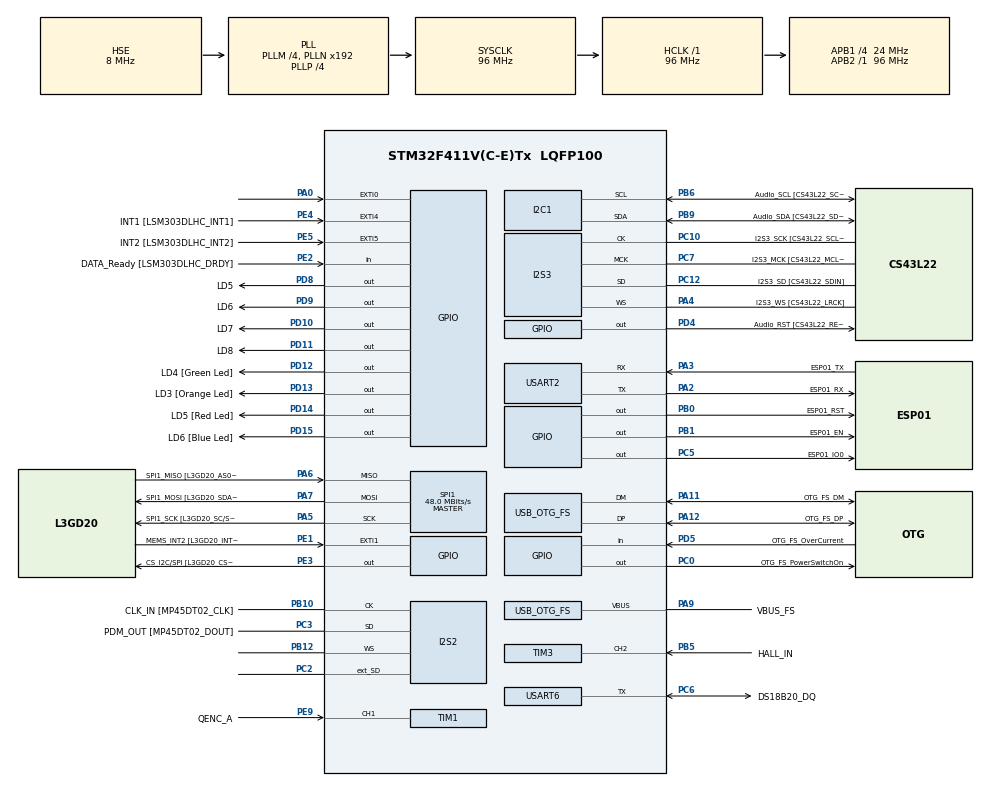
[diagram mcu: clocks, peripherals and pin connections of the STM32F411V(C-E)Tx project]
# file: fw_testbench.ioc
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Dma.I2C1_RX.4.Direction=DMA_PERIPH_TO_MEMORY
Dma.I2C1_RX.4.FIFOMode=DMA_FIFOMODE_DISABLE
Dma.I2C1_RX.4.Instance=DMA1_Stream0
Dma.I2C1_RX.4.MemDataAlignment=DMA_MDATAALIGN_BYTE
Dma.I2C1_RX.4.MemInc=DMA_MINC_ENABLE
Dma.I2C1_RX.4.Mode=DMA_NORMAL
Dma.I2C1_RX.4.PeriphDataAlignment=DMA_PDATAALIGN_BYTE
Dma.I2C1_RX.4.PeriphInc=DMA_PINC_DISABLE
Dma.I2C1_RX.4.Priority=DMA_PRIORITY_LOW
Dma.I2C1_TX.5.Direction=DMA_MEMORY_TO_PERIPH
Dma.I2C1_TX.5.FIFOMode=DMA_FIFOMODE_DISABLE
Dma.I2C1_TX.5.Instance=DMA1_Stream1
Dma.I2C1_TX.5.MemDataAlignment=DMA_MDATAALIGN_BYTE
Dma.I2C1_TX.5.MemInc=DMA_MINC_ENABLE
Dma.I2C1_TX.5.Mode=DMA_NORMAL
Dma.I2C1_TX.5.PeriphDataAlignment=DMA_PDATAALIGN_BYTE
Dma.I2C1_TX.5.PeriphInc=DMA_PINC_DISABLE
Dma.I2C1_TX.5.Priority=DMA_PRIORITY_LOW
Dma.Request0=USART2_RX
Dma.Request1=USART2_TX
Dma.Request2=USART6_RX
Dma.Request3=USART6_TX
Dma.Request4=I2C1_RX
Dma.Request5=I2C1_TX
Dma.USART2_RX.0.Direction=DMA_PERIPH_TO_MEMORY
Dma.USART2_RX.0.FIFOMode=DMA_FIFOMODE_DISABLE
Dma.USART2_RX.0.Instance=DMA1_Stream5
Dma.USART2_RX.0.MemDataAlignment=DMA_MDATAALIGN_BYTE
Dma.USART2_RX.0.MemInc=DMA_MINC_ENABLE
Dma.USART2_RX.0.Mode=DMA_CIRCULAR
Dma.USART2_RX.0.PeriphDataAlignment=DMA_PDATAALIGN_BYTE
Dma.USART2_RX.0.PeriphInc=DMA_PINC_DISABLE
Dma.USART2_RX.0.Priority=DMA_PRIORITY_MEDIUM
Dma.USART2_TX.1.Direction=DMA_MEMORY_TO_PERIPH
Dma.USART2_TX.1.FIFOMode=DMA_FIFOMODE_DISABLE
Dma.USART2_TX.1.Instance=DMA1_Stream6
Dma.USART2_TX.1.MemDataAlignment=DMA_MDATAALIGN_BYTE
Dma.USART2_TX.1.MemInc=DMA_MINC_ENABLE
Dma.USART2_TX.1.Mode=DMA_NORMAL
Dma.USART2_TX.1.PeriphDataAlignment=DMA_PDATAALIGN_BYTE
Dma.USART2_TX.1.PeriphInc=DMA_PINC_DISABLE
Dma.USART2_TX.1.Priority=DMA_PRIORITY_LOW
Dma.USART6_RX.2.Direction=DMA_PERIPH_TO_MEMORY
Dma.USART6_RX.2.FIFOMode=DMA_FIFOMODE_DISABLE
Dma.USART6_RX.2.Instance=DMA2_Stream1
Dma.USART6_RX.2.MemDataAlignment=DMA_MDATAALIGN_BYTE
Dma.USART6_RX.2.MemInc=DMA_MINC_ENABLE
Dma.USART6_RX.2.Mode=DMA_NORMAL
Dma.USART6_RX.2.PeriphDataAlignment=DMA_PDATAALIGN_BYTE
Dma.USART6_RX.2.PeriphInc=DMA_PINC_DISABLE
Dma.USART6_RX.2.Priority=DMA_PRIORITY_LOW
Dma.USART6_TX.3.Direction=DMA_MEMORY_TO_PERIPH
Dma.USART6_TX.3.FIFOMode=DMA_FIFOMODE_DISABLE
Dma.USART6_TX.3.Instance=DMA2_Stream6
Dma.USART6_TX.3.MemDataAlignment=DMA_MDATAALIGN_BYTE
Dma.USART6_TX.3.MemInc=DMA_MINC_ENABLE
Dma.USART6_TX.3.Mode=DMA_NORMAL
Dma.USART6_TX.3.PeriphDataAlignment=DMA_PDATAALIGN_BYTE
Dma.USART6_TX.3.PeriphInc=DMA_PINC_DISABLE
Dma.USART6_TX.3.Priority=DMA_PRIORITY_LOW
I2S2.AudioFreq=I2S_AUDIOFREQ_96K
I2S2.ErrorAudioFreq=0.15 %
I2S2.FullDuplexMode=I2S_FULLDUPLEXMODE_ENABLE
I2S2.Instance=SPI$Index
I2S2.RealAudioFreq=96.153 KHz
I2S2.VirtualMode=I2S_MODE_MASTER
I2S3.AudioFreq=I2S_AUDIOFREQ_96K
I2S3.ErrorAudioFreq=-6.99 %
I2S3.FullDuplexMode=I2S_FULLDUPLEXMODE_DISABLE
I2S3.Instance=SPI$Index
I2S3.RealAudioFreq=89.285 KHz
I2S3.VirtualMode=I2S_MODE_MASTER
Mcu.Family=STM32F4
Mcu.Name=STM32F411V(C-E)Tx
Mcu.Package=LQFP100
NVIC.DMA1_Stream0_IRQn=true\:0\:0\:false\:false\:true\:false\:true\:true
NVIC.DMA1_Stream1_IRQn=true\:0\:0\:false\:false\:true\:false\:true\:true
NVIC.DMA1_Stream5_IRQn=true\:0\:0\:false\:false\:true\:false\:true\:true
NVIC.DMA1_Stream6_IRQn=true\:0\:0\:false\:false\:true\:false\:true\:true
NVIC.DMA2_Stream1_IRQn=true\:0\:0\:false\:false\:true\:false\:true\:true
NVIC.DMA2_Stream6_IRQn=true\:0\:0\:false\:false\:true\:false\:true\:true
NVIC.I2C1_EV_IRQn=true\:0\:0\:false\:false\:true\:true\:true\:true
NVIC.OTG_FS_IRQn=true\:0\:0\:false\:false\:true\:true\:true\:true
NVIC.PriorityGroup=NVIC_PRIORITYGROUP_0
NVIC.TIM1_BRK_TIM9_IRQn=true\:0\:0\:false\:false\:true\:true\:true\:true
NVIC.TIM1_CC_IRQn=true\:0\:0\:false\:false\:true\:true\:true\:true
NVIC.TIM1_TRG_COM_TIM11_IRQn=true\:0\:0\:false\:false\:true\:true\:true\:true
NVIC.TIM1_UP_TIM10_IRQn=true\:0\:0\:false\:false\:true\:true\:true\:true
NVIC.TIM3_IRQn=true\:0\:0\:false\:false\:true\:true\:true\:true
NVIC.USART2_IRQn=true\:0\:0\:false\:false\:true\:true\:true\:true
NVIC.USART6_IRQn=true\:0\:0\:false\:false\:true\:true\:true\:true
PA0-WKUP.GPIO_ModeDefaultEXTI=GPIO_MODE_EVT_RISING
PA0-WKUP.Signal=GPXTI0
PA10.GPIO_Label=OTG_FS_ID
PA10.Signal=USB_OTG_FS_ID
PA11.GPIO_Label=OTG_FS_DM
PA11.Mode=Host_Only
PA11.Signal=USB_OTG_FS_DM
PA12.GPIO_Label=OTG_FS_DP
PA12.Mode=Host_Only
PA12.Signal=USB_OTG_FS_DP
PA13.GPIO_Label=SWDIO
PA13.Mode=Serial_Wire
PA13.Signal=SYS_JTMS-SWDIO
PA14.GPIO_Label=SWCLK
PA14.Mode=Serial_Wire
PA14.Signal=SYS_JTCK-SWCLK
PA2.GPIO_Label=ESP01_RX
PA2.Mode=Asynchronous
PA2.Signal=USART2_TX
PA3.GPIO_Label=ESP01_TX
PA3.Mode=Asynchronous
PA3.Signal=USART2_RX
PA4.GPIO_Label=I2S3_WS [CS43L22_LRCK]
PA4.GPIO_Mode=GPIO_MODE_AF_PP
PA4.GPIO_PuPd=GPIO_NOPULL
PA4.GPIO_Speed=GPIO_SPEED_FREQ_LOW
PA4.Mode=Half_Duplex_Master
PA4.Signal=I2S3_WS
PA5.GPIO_Label=SPI1_SCK [L3GD20_SC/SPC]
PA5.Mode=Full_Duplex_Master
PA5.Signal=SPI1_SCK
PA6.GPIO_Label=SPI1_MISO [L3GD20_AS0/SDO]
PA6.Mode=Full_Duplex_Master
PA6.Signal=SPI1_MISO
PA7.GPIO_Label=SPI1_MOSI [L3GD20_SDA/SDI/SDO]
PA7.Mode=Full_Duplex_Master
PA7.Signal=SPI1_MOSI
PA9.GPIO_Label=VBUS_FS
PA9.Mode=Activate_VBUS
PA9.Signal=USB_OTG_FS_VBUS
PB0.GPIO_Label=ESP01_RST
PB0.Signal=GPIO_Output
PB1.GPIO_Label=ESP01_EN
PB1.Signal=GPIO_Output
PB10.GPIO_Label=CLK_IN [MP45DT02_CLK]
PB10.Mode=Full_Duplex_Master
PB10.Signal=I2S2_CK
PB12.Mode=Full_Duplex_Master
PB12.Signal=I2S2_WS
PB3.GPIO_Label=SWO
PB3.Signal=SYS_JTDO-SWO
PB5.GPIO_Label=HALL_IN
PB5.Signal=S_TIM3_CH2
PB6.GPIO_Label=Audio_SCL [CS43L22_SCL]
PB6.GPIO_Mode=GPIO_MODE_AF_OD
PB6.GPIO_Pu=GPIO_PULLUP
PB6.GPIO_PuPd=GPIO_NOPULL
PB6.GPIO_Speed=GPIO_SPEED_FREQ_LOW
PB6.Mode=I2C
PB6.Signal=I2C1_SCL
PB9.GPIO_Label=Audio_SDA [CS43L22_SDA]
PB9.GPIO_Mode=GPIO_MODE_AF_OD
PB9.GPIO_Pu=GPIO_PULLUP
PB9.GPIO_PuPd=GPIO_NOPULL
PB9.GPIO_Speed=GPIO_SPEED_FREQ_LOW
PB9.Mode=I2C
PB9.Signal=I2C1_SDA
PC0.GPIO_Label=OTG_FS_PowerSwitchOn
PC0.PinState=GPIO_PIN_SET
PC0.Signal=GPIO_Output
PC10.GPIO_Label=I2S3_SCK [CS43L22_SCLK]
PC10.GPIO_Mode=GPIO_MODE_AF_PP
PC10.GPIO_PuPd=GPIO_NOPULL
PC10.GPIO_Speed=GPIO_SPEED_FREQ_LOW
PC10.Mode=Half_Duplex_Master
PC10.Signal=I2S3_CK
PC12.GPIO_Label=I2S3_SD [CS43L22_SDIN]
PC12.GPIO_Mode=GPIO_MODE_AF_PP
PC12.GPIO_PuPd=GPIO_NOPULL
PC12.GPIO_Speed=GPIO_SPEED_FREQ_LOW
PC12.Mode=Half_Duplex_Master
PC12.Signal=I2S3_SD
PC14-OSC32_IN.GPIO_Label=PC14-OSC32_IN
PC14-OSC32_IN.Signal=RCC_OSC32_IN
PC15-OSC32_OUT.GPIO_Label=PC15-OSC32_OUT
PC15-OSC32_OUT.Signal=RCC_OSC32_OUT
PC2.Mode=Full_Duplex_Master
PC2.Signal=I2S2_ext_SD
PC3.GPIO_Label=PDM_OUT [MP45DT02_DOUT]
PC3.Mode=Full_Duplex_Master
PC3.Signal=I2S2_SD
PC5.GPIO_Label=ESP01_IO0
PC5.Signal=GPIO_Output
PC6.GPIO_Label=DS18B20_DQ
PC6.GPIO_Speed=GPIO_SPEED_FREQ_HIGH
PC6.Mode=Half_duplex(single_wire_mode)
PC6.Signal=USART6_TX
PC7.GPIO_Label=I2S3_MCK [CS43L22_MCLK]
PC7.GPIO_Mode=GPIO_MODE_AF_PP
PC7.GPIO_PuPd=GPIO_NOPULL
PC7.GPIO_Speed=GPIO_SPEED_FREQ_LOW
PC7.Mode=Master_Clock_Activated
PC7.Signal=I2S3_MCK
PD10.GPIO_Label=LD7
PD10.Signal=GPIO_Output
PD11.GPIO_Label=LD8
PD11.Signal=GPIO_Output
PD12.GPIO_Label=LD4 [Green Led]
PD12.GPIO_PuPd=GPIO_NOPULL
PD12.GPIO_Speed=GPIO_SPEED_FREQ_LOW
PD12.Signal=GPIO_Output
PD13.GPIO_Label=LD3 [Orange Led]
PD13.GPIO_PuPd=GPIO_NOPULL
PD13.GPIO_Speed=GPIO_SPEED_FREQ_LOW
PD13.Signal=GPIO_Output
PD14.GPIO_Label=LD5 [Red Led]
PD14.GPIO_PuPd=GPIO_NOPULL
PD14.GPIO_Speed=GPIO_SPEED_FREQ_LOW
PD14.Signal=GPIO_Output
PD15.GPIO_Label=LD6 [Blue Led]
PD15.GPIO_PuPd=GPIO_NOPULL
PD15.GPIO_Speed=GPIO_SPEED_FREQ_LOW
PD15.Signal=GPIO_Output
PD4.GPIO_Label=Audio_RST [CS43L22_RESET]
PD4.Signal=GPIO_Output
PD5.GPIO_Label=OTG_FS_OverCurrent
PD5.Signal=GPIO_Input
PD8.GPIO_Label=LD5
PD8.Signal=GPIO_Output
PD9.GPIO_Label=LD6
PD9.Signal=GPIO_Output
PE1.GPIO_Label=MEMS_INT2 [L3GD20_INT2]
PE1.GPIO_ModeDefaultEXTI=GPIO_MODE_EVT_RISING
PE1.Signal=GPXTI1
PE2.GPIO_Label=DATA_Ready [LSM303DLHC_DRDY]
PE2.Signal=GPIO_Input
PE3.GPIO_Label=CS_I2C/SPI [L3GD20_CS_I2C/SPI]
PE3.Signal=GPIO_Output
PE4.GPIO_Label=INT1 [LSM303DLHC_INT1]
PE4.GPIO_ModeDefaultEXTI=GPIO_MODE_EVT_RISING
PE4.Signal=GPXTI4
PE5.GPIO_Label=INT2 [LSM303DLHC_INT2]
PE5.GPIO_ModeDefaultEXTI=GPIO_MODE_EVT_RISING
PE5.Signal=GPXTI5
PE9.GPIO_Label=QENC_A
PE9.Signal=S_TIM1_CH1
PH0\ -\ OSC_IN.GPIO_Label=PH0-OSC_IN
PH0\ -\ OSC_IN.Mode=HSE-External-Oscillator
PH0\ -\ OSC_IN.Signal=RCC_OSC_IN
PH1\ -\ OSC_OUT.GPIO_Label=PH1-OSC_OUT
PH1\ -\ OSC_OUT.Mode=HSE-External-Oscillator
PH1\ -\ OSC_OUT.Signal=RCC_OSC_OUT
ProjectManager.HeapSize=0x200
ProjectManager.StackSize=0x400
ProjectManager.TargetToolchain=STM32CubeIDE
RCC.48MHZClocksFreq_Value=48000000
RCC.AHBFreq_Value=96000000
RCC.APB1CLKDivider=RCC_HCLK_DIV4
RCC.APB1Freq_Value=24000000
RCC.APB1TimFreq_Value=48000000
RCC.APB2Freq_Value=96000000
RCC.APB2TimFreq_Value=96000000
RCC.CortexFreq_Value=96000000
RCC.HCLKFreq_Value=96000000
RCC.HSE_VALUE=8000000
RCC.HSI_VALUE=16000000
RCC.LSE_VALUE=32768
RCC.PLLI2SM=5
RCC.PLLI2SN=200
RCC.PLLM=4
RCC.PLLP=RCC_PLLP_DIV4
RCC.PLLQ=8
RCC.SYSCLKFreq_VALUE=96000000
RCC.SYSCLKSource=RCC_SYSCLKSOURCE_PLLCLK
RCC.VCOOutputFreq_Value=384000000
SH.S_TIM1_CH1.0=TIM1_CH1,Input_Capture1_from_TI1
SH.S_TIM3_CH2.0=TIM3_CH2,Input_Capture2_from_TI2
SPI1.BaudRatePrescaler=SPI_BAUDRATEPRESCALER_2
SPI1.CalculateBaudRate=48.0 MBits/s
SPI1.Direction=SPI_DIRECTION_2LINES
SPI1.Mode=SPI_MODE_MASTER
SPI1.VirtualType=VM_MASTER
TIM1.Channel-Input_Capture1_from_TI1=TIM_CHANNEL_1
TIM1.ICFilter_CH1=4
TIM1.Prescaler=96-1
TIM3.AutoReloadPreload=TIM_AUTORELOAD_PRELOAD_ENABLE
TIM3.Channel-Input_Capture2_from_TI2=TIM_CHANNEL_2
TIM3.ICFilter_CH2=4
TIM3.ICPolarity_CH2=TIM_INPUTCHANNELPOLARITY_FALLING
TIM3.Prescaler=96-1
USART2.VirtualMode=VM_ASYNC
USART6.VirtualMode=VM_ASYNC
USB_HOST.BSP.number=1
USB_HOST.USBH_HandleTypeDef=hUsbHostFS
USB_HOST.VirtualModeFS=Cdc
USB_HOST0.BSP.STBoard=false
USB_HOST0.BSP.api=Unknown
USB_HOST0.BSP.instance=PC0
USB_HOST0.BSP.ip=GPIO
USB_HOST0.BSP.mode=Output
USB_HOST0.BSP.name=Drive_VBUS_FS
USB_HOST0.BSP.solution=PC0
USB_OTG_FS.VirtualMode=Host_Only
USB_OTG_FS.phy_itface=HCD_PHY_EMBEDDED
VP_TIM1_VS_ClockSourceINT.Mode=Internal
VP_TIM3_VS_ClockSourceINT.Mode=Internal
VP_USB_HOST_VS_USB_HOST_CDC_FS.Mode=CDC_FS
board=STM32F411E-DISCO

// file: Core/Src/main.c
/* USER CODE BEGIN Header */
/**
  ******************************************************************************
  * @file           : main.c
  * @brief          : Main program body
  ******************************************************************************
  * @attention
  *
  * Copyright (c) 2025 STMicroelectronics.
  * All rights reserved.
  *
  * This software is licensed under terms that can be found in the LICENSE file
  * in the root directory of this software component.
  * If no LICENSE file comes with this software, it is provided AS-IS.
  *
  ******************************************************************************
  */
/* USER CODE END Header */
#include "main.h"
#include "usb_host.h"

/* USER CODE BEGIN Includes */
#include <malloc.h>
#include "BME280_STM32.h"
#include <uart_reception.h>
#include <task_handling.h>
#include <data_buffer.h>
/* USER CODE END Includes */

/* USER CODE BEGIN PD */
int __io_putchar(int ch)
{
 // Write character to ITM ch.0
 ITM_SendChar(ch);
 return(ch);
}
/* USER CODE END PD */

I2C_HandleTypeDef hi2c1;
DMA_HandleTypeDef hdma_i2c1_rx;
DMA_HandleTypeDef hdma_i2c1_tx;

I2S_HandleTypeDef hi2s2;
I2S_HandleTypeDef hi2s3;

SPI_HandleTypeDef hspi1;

TIM_HandleTypeDef htim1;
TIM_HandleTypeDef htim3;

UART_HandleTypeDef huart2;
UART_HandleTypeDef huart6;
DMA_HandleTypeDef hdma_usart2_rx;
DMA_HandleTypeDef hdma_usart2_tx;
DMA_HandleTypeDef hdma_usart6_rx;
DMA_HandleTypeDef hdma_usart6_tx;

/* USER CODE BEGIN PV */
/***********************************	RPM variables	***********************************/
volatile uint32_t pulsos_hall = 0;
volatile bool hall_polarity=0;

volatile float rpm_motor=0,rpm_freno=0, rpm_freno_media = 0.0f;

volatile float suma_rpm_freno = 0.0f;
volatile int contador_rpm_freno = 0;

volatile bool motor_stopped = 0;
volatile bool freno_stopped = 0;

uint32_t tiemout_motor_stopped = 0;

volatile bool polarity_encoder=0,polarity_encoder_b=0;

volatile uint32_t valor1_hall = 0,valor2_hall = 0,periodo_hall = 0,overflow_count_hall = 0, overflow_count_encoder = 0;

volatile uint32_t periodo_encoder = 0;

volatile uint32_t valor1_encoder_a = 0,valor2_encoder_a = 0;

//uint32_t valor1_encoder_b,valor2_encoder_b;
/***********************************	RPM variables	***********************************/

/***********************************	DS18B20 variables	***********************************/

typedef enum {START_MEASURE, PRESENCE_PULSE_1, SKIPPING_ROM1, REQUESTING_CONVERSION, PRESENCE_PULSE_2, SKIPPING_ROM2, REQUEST_TEMP, RECEIVING_BYTE_LSB,  RECEIVING_BYTE_MSB, FINISHED}DS18B20_state_t;

volatile bool flag_uart6_sent = 0;
volatile bool flag_timer = 0;

volatile int presence = 0;
uint8_t RxData[8], RxData_LSB[8], RxData_MSB[8], Temp_LSB = 0, Temp_MSB = 0;
int16_t Temp = 0;
float Temperature_DS18B20 = 0;
uint8_t Tx_PRESENCE_PULSE[] = {0xF0}, Rx_PRESENCE_PULSE[] = {0x00};
uint8_t data_global = 0xF0;

uint8_t FF_byte[] = {0xFF};
uint8_t C0_byte[] = {0xC0};

uint32_t delay_ds18b20 = 0;
DS18B20_state_t DS18B20_state = START_MEASURE, *DS18B20_state_ptr = &DS18B20_state;

/***********************************	DS18B20 variables	***********************************/
volatile Bool flag_tx_sent = 0;
extern volatile Bool flag_message_copied;
extern volatile uint16_t overflow_start, head;

extern volatile char rx_buffer[BUFFER_SIZE]; //buffer unico de recepcion
extern char tx_buffer[BUFFER_SIZE]; //buffer de tranmisión que al menos para la conexion es unico para la transmitir datos
extern char message_buffer[BUFFER_SIZE]; // Buffer para almacenar un mensaje completo

extern Bool client_connected;
extern com_state_wifi_card* current_wifi_com_status;
extern com_state_wifi_card com_wifi_card_values[];

extern Bool flag_read_bme280, flag_cipsend, flag_sample_sending;

float Temperature_BME280 = 0, Pressure_BME280 = 0, Humidity_BME280 = 0;

uint32_t time_tx = 0, delay_connection = 0, delay_bme280 = 0;
int tx_buffer_size = 0;

volatile bool flag_rx_bme280 = 0;
extern BME280_state_t BME280_state;
/*********	 Variables for sample sending	*********/
uint32_t data_timeout = 0, time_sample = 0, time_init = 0;
size_t number_of_DataRecords = 0, package_size = 0;
uint8_t* buffer_to_send;

struct DataRecord *sample;
const struct DataRecord *bundle;
/*********	 Variables for sample sending	*********/

void HAL_UARTEx_RxEventCallback(UART_HandleTypeDef *huart, uint16_t Size) {
	if(Size == 128){ // Poner el tamaño del buffer a mano
		overflow_start = head;
	}
	else if (Size > 0) {
		memset(message_buffer, 0, BUFFER_SIZE);
    	if(overflow_start > Size){
    		copy_message(overflow_start, BUFFER_SIZE, 1);
    		head = 0;
    	}
    	copy_message(head, Size, 0);
    	flag_message_copied = 1;
    	//printf("%s", message_buffer);
    }
    head = Size;
    // 🚀 Reiniciar la recepción UART en DMA
    HAL_UARTEx_ReceiveToIdle_DMA(&huart2, (uint8_t*)rx_buffer, BUFFER_SIZE);
}

void HAL_UART_TxCpltCallback(UART_HandleTypeDef *huart){
	if(huart->Instance == USART2){
		flag_tx_sent = 0;//incluir en send_tx()
		HAL_UARTEx_ReceiveToIdle_DMA(&huart2, (uint8_t*)rx_buffer, BUFFER_SIZE);
	}

	if(huart->Instance == USART6){
		flag_uart6_sent = 1;
	}
}

void HAL_I2C_MemRxCpltCallback(I2C_HandleTypeDef *hi2c){
	if(hi2c->Instance == hi2c1.Instance){
		flag_rx_bme280 = 1;
	}
}

void HAL_TIM_IC_CaptureCallback(TIM_HandleTypeDef *htim){
    if(htim==&htim3){
		if(htim->Channel == HAL_TIM_ACTIVE_CHANNEL_2){
			if(hall_polarity == 0){
				valor1_hall = HAL_TIM_ReadCapturedValue(htim, TIM_CHANNEL_2);
				hall_polarity = 1;
				overflow_count_hall = 0; // Reset overflow count for new measurement
			}
			else if(hall_polarity == 1){
				valor2_hall = HAL_TIM_ReadCapturedValue(htim, TIM_CHANNEL_2);
				__HAL_TIM_SET_COUNTER(htim, 0);

				// Calculate period considering possible overflow
				if(valor2_hall >= valor1_hall){
					periodo_hall = valor2_hall - valor1_hall + overflow_count_hall * (htim->Init.Period + 1);
				}
				else {
					// Handle case where counter overflowed between captures
					periodo_hall = (valor2_hall + (htim->Init.Period + 1)) - valor1_hall + overflow_count_hall * (htim->Init.Period + 1);
				}

				hall_polarity = 0;
			}
		}
		if(periodo_hall!=0){
		    rpm_motor=(float)((float)1000*1000/periodo_hall)*60;
		    motor_stopped = 0;
		}
    }

    if(htim==&htim1){
    	if(polarity_encoder==0){
    		valor1_encoder_a = HAL_TIM_ReadCapturedValue(htim, TIM_CHANNEL_1);
    		polarity_encoder=1;
    		overflow_count_encoder = 0;
		}
    	else{
    		valor2_encoder_a = HAL_TIM_ReadCapturedValue(htim, TIM_CHANNEL_1);
    		__HAL_TIM_SET_COUNTER(htim, 0);

    		// Calculate period considering possible overflow
    		if(valor2_encoder_a >= valor1_encoder_a){
    			periodo_encoder = valor2_encoder_a - valor1_encoder_a + overflow_count_encoder * (htim->Init.Period + 1);
			}
    		else {
    			// Handle case where counter overflowed between captures
    			periodo_encoder = (valor2_encoder_a + (htim->Init.Period + 1)) - valor1_encoder_a + overflow_count_encoder * (htim->Init.Period + 1);
			}
    		polarity_encoder=0;
		}
		if(periodo_encoder!=0){
			rpm_freno=(float)(((float)1000*1000/(periodo_encoder*600))*60);
			suma_rpm_freno += rpm_freno;
			contador_rpm_freno++;
			freno_stopped = 0;
		}
    }
}

// Callback to handle timer overflow
void HAL_TIM_PeriodElapsedCallback(TIM_HandleTypeDef *htim){
    if(htim == &htim3){ // Ensure this is the correct timer
        overflow_count_hall++;
    }

    if(htim==&htim1){
    	overflow_count_encoder++;
    }
}
/* USER CODE END PV */

void SystemClock_Config(void);
void PeriphCommonClock_Config(void);
static void MX_GPIO_Init(void);
static void MX_DMA_Init(void);
static void MX_I2C1_Init(void);
static void MX_I2S2_Init(void);
static void MX_I2S3_Init(void);
static void MX_SPI1_Init(void);
static void MX_USART2_UART_Init(void);
static void MX_TIM3_Init(void);
static void MX_USART6_UART_Init(void);
static void MX_TIM1_Init(void);
void MX_USB_HOST_Process(void);

/* USER CODE BEGIN 0 */
/***********************************	DS18B20 functions	***********************************/
void MX_USART6_UART_Init_baud_selecting(uint32_t baud_rate)
{
	huart6.Instance = USART6;
	huart6.Init.BaudRate = baud_rate;
	huart6.Init.WordLength = UART_WORDLENGTH_8B;
	huart6.Init.StopBits = UART_STOPBITS_1;
	huart6.Init.Parity = UART_PARITY_NONE;
	huart6.Init.Mode = UART_MODE_TX_RX;
	huart6.Init.HwFlowCtl = UART_HWCONTROL_NONE;
	huart6.Init.OverSampling = UART_OVERSAMPLING_16;
	if (HAL_HalfDuplex_Init(&huart6) != HAL_OK)
	{
		Error_Handler();
	}
}

void DS18B20_Write(uint8_t data){
	uint8_t buffer[8];
	for(int i = 0;i < 8;i++){
		if((data & (1<<i)) != 0){
			buffer[i] = 0xFF;
		}
		else{
			buffer[i] = 0x00;
		}
	}
	HAL_UART_Transmit_DMA(&huart6,buffer,8);
}

void DS18B20_Start(void){
	MX_USART6_UART_Init_baud_selecting(9600);
	HAL_UART_Transmit_DMA(&huart6,Tx_PRESENCE_PULSE,1);
	HAL_UART_Receive_DMA(&huart6,Rx_PRESENCE_PULSE,1);
}

bool DS18B20_Presence_Pulse_check(void){
	if(Rx_PRESENCE_PULSE[0] == 0xF0){
		return 0;
	}
	return 1;
}

void DS18B20_Read(uint8_t *rx){
	uint8_t buffer[8];
	for(int i = 0;i < 8;i++){
		buffer[i] = 0xFF;
	}
	HAL_UART_Transmit_DMA(&huart6,buffer,8);
	HAL_UART_Receive_DMA(&huart6,rx,8);
}

uint8_t byte_parser(uint8_t *data){
	uint8_t value = 0;

	for(int i = 0;i < 8;i++){
		if(data[i] == 0xFF){
			value |= 1<<i;
		}
	}

	return value;
}

void action(DS18B20_state_t state){
	switch(state){
		case PRESENCE_PULSE_1:
			DS18B20_Start();
			break;
		case SKIPPING_ROM1:
			MX_USART6_UART_Init_baud_selecting(115200);
			DS18B20_Write(0xCC);
			break;
		case REQUESTING_CONVERSION:
			DS18B20_Write(0x44);
			delay_ds18b20 = HAL_GetTick();
			break;
		case PRESENCE_PULSE_2:
			DS18B20_Start();
			break;
		case SKIPPING_ROM2:
			MX_USART6_UART_Init_baud_selecting(115200);
			DS18B20_Write(0xCC);
			break;
		case REQUEST_TEMP:
			DS18B20_Write(0xBE);
			break;
		case RECEIVING_BYTE_LSB:
			DS18B20_Read(RxData_LSB);
			break;
		case RECEIVING_BYTE_MSB:
			DS18B20_Read(RxData_MSB);
			break;
		case FINISHED:
			Temp_LSB = byte_parser(RxData_LSB);
			Temp_MSB = byte_parser(RxData_MSB);

			Temp = (Temp_MSB << 8) | Temp_LSB;
			Temperature_DS18B20 = (float) Temp/16.0;
			delay_ds18b20 = HAL_GetTick();
		default:
			break;
	}
}

bool DS18B20_state_handling(DS18B20_state_t *state){
	switch(*state){
		case START_MEASURE:
			*state = PRESENCE_PULSE_1;
			return 1;
			break;
		case PRESENCE_PULSE_1:
			if(flag_uart6_sent == 1){
				if(DS18B20_Presence_Pulse_check()){
					*state = SKIPPING_ROM1;
				}
				//printf("Rx_Presence_pulse = 0x%02X\n", Rx_PRESENCE_PULSE[0]);
				flag_uart6_sent = 0;
				return 1;
			}
			return 0;
			break;
		case SKIPPING_ROM1:
			if(flag_uart6_sent == 1){
				*state = REQUESTING_CONVERSION;
				flag_uart6_sent = 0;
				return 1;
			}
			return 0;
			break;
		case REQUESTING_CONVERSION:
			if(flag_uart6_sent == 1){
				*state = PRESENCE_PULSE_2;
				flag_uart6_sent = 0;
				Rx_PRESENCE_PULSE[0] = 0xF0;
				return 1;
			}
			return 0;
			break;
		case PRESENCE_PULSE_2:
			if(flag_uart6_sent == 1){
				if(DS18B20_Presence_Pulse_check()){
					*state = SKIPPING_ROM2;
				}
				flag_uart6_sent = 0;
				return 1;
			}
			return 0;
			break;
		case SKIPPING_ROM2:
			if(flag_uart6_sent == 1){
				*state = REQUEST_TEMP;
				flag_uart6_sent = 0;
				return 1;
			}
			return 0;
			break;
		case REQUEST_TEMP:
			if(flag_uart6_sent == 1){
				*state = RECEIVING_BYTE_LSB;
				flag_uart6_sent = 0;
				return 1;
			}
			return 0;
			break;
		case RECEIVING_BYTE_LSB:
			if(flag_uart6_sent == 1){
				*state = RECEIVING_BYTE_MSB;
				flag_uart6_sent = 0;
				return 1;
			}
			return 0;
			break;
		case RECEIVING_BYTE_MSB:
			if(flag_uart6_sent == 1){
				*state = FINISHED;
				flag_uart6_sent = 0;
				return 1;
			}
			return 0;
			break;
		case FINISHED:
			Rx_PRESENCE_PULSE[0] = 0xF0;
			*state = START_MEASURE;
			return 1;
		default:
			break;
		}
	return 0;
}

uint32_t HAL_GetTick(void)
{
	if(flag_sample_sending){
		time_sample = uwTick - time_init;
	}
	return uwTick;
}
/***********************************	BME280 functions	***********************************/
void print_state(Conection_State_t state) {
    switch (state) {
        case STATE_CHECKING_COM:
            printf("STATE_CHECKING_COM\n");
            break;
        case STATE_NO_ECHO:
            printf("STATE_NO_ECHO\n");
            break;
        case STATE_CWQAP:
            printf("STATE_CWQAP\n");
            break;
        case STATE_CIPSERVER_CLOSE:
            printf("STATE_CIPSERVER_CLOSE\n");
            break;
        case STATE_SETTING_CWMODE:
            printf("STATE_SETTING_CWMODE\n");
            break;
        case STATE_SETTING_CIPMUX:
            printf("STATE_SETTING_CIPMUX\n");
            break;
        case STATE_CREATE_OWN_WIFI:
            printf("STATE_CREATE_OWN_WIFI\n");
            break;
        case STATE_CIPSERVERMAXCONN:
            printf("STATE_CIPSERVERMAXCONN\n");
            break;
        case STATE_CREATE_SERVER:
            printf("STATE_CREATE_SERVER\n");
            break;
        case STATE_SERVER_ACTIVE:
            printf("STATE_WAITING_CLIENT\n");
            break;
        default:
            printf("UNKNOWN STATE\n");
            break;
    }
}

Bool send_tx(){
	if((flag_tx_sent == 1)&&(HAL_GetTick() - time_tx > 100)){
		flag_tx_sent = 0;
	}
	tx_buffer_size = strlen(tx_buffer);
	if((tx_buffer_size != 0)&&(flag_tx_sent == 0)){
		HAL_UART_Transmit_DMA(&huart2,(uint8_t *)tx_buffer,tx_buffer_size);
		time_tx = HAL_GetTick();
		flag_tx_sent = 1;
		return 1;
	}
	return 0;
}

void update_buffer(char *buffer, size_t buffer_size, const char *new_content) {
    if (strcmp(buffer, new_content) == 0) {
        return; // Si son iguales, no hace nada
    }

    memset(buffer, 0, buffer_size);

    strncpy(buffer, new_content, buffer_size - 1); // Protege contra desbordamientos
    buffer[buffer_size - 1] = '\0'; // Asegura la terminación nula
}

void exit_passthrough(){
	HAL_Delay(1000);
	strcpy(tx_buffer, "+"); // exit passthrough mode
	send_tx();
	HAL_Delay(2);
	send_tx();
	HAL_Delay(2);
	send_tx();
	HAL_Delay(1000);
}

void print_dataRecord(const struct DataRecord* record){
	printf("%lu %.2f %.2f %.2f %.2f %.2f %.2f\n",record->timeStamp,record->samples[0],record->samples[1],record->samples[2],record->samples[3],record->samples[4],record->samples[5]);
}

void print_buf8(uint8_t* buffer, size_t length) {
    for (size_t i = 0; i < length; i++) {
        printf("%u ", buffer[i]);
    }
    printf("\n");
}

float obtenerMedia(void) {
    if (contador_rpm_freno == 0) return 0.0f;  // Evitar división por 0
    return suma_rpm_freno / contador_rpm_freno;
}

void reiniciarMedia(void) {
	suma_rpm_freno = 0.0f;
	contador_rpm_freno = 0;
}
/* USER CODE END 0 */

int main(void)
{

  /* MCU Configuration--------------------------------------------------------*/

  /* Reset of all peripherals, Initializes the Flash interface and the Systick. */
  HAL_Init();

  /* Configure the system clock */
  SystemClock_Config();

  /* Configure the peripherals common clocks */
  PeriphCommonClock_Config();

  /* Initialize all configured peripherals */
  MX_GPIO_Init();
  MX_DMA_Init();
  MX_I2C1_Init();
  MX_I2S2_Init();
  MX_I2S3_Init();
  MX_SPI1_Init();
  MX_USB_HOST_Init();
  MX_USART2_UART_Init();
  MX_TIM3_Init();
  MX_USART6_UART_Init();
  MX_TIM1_Init();
  /* USER CODE BEGIN 2 */
  BME280_Config(OSRS_2, OSRS_16, OSRS_1, MODE_NORMAL, T_SB_0p5, IIR_16);

  HAL_GPIO_WritePin(GPIOC, GPIO_PIN_5, GPIO_PIN_SET);
  HAL_GPIO_WritePin(GPIOB, GPIO_PIN_1, GPIO_PIN_SET);
  HAL_GPIO_WritePin(GPIOB, GPIO_PIN_0, GPIO_PIN_RESET);
  HAL_Delay(100);
  HAL_GPIO_WritePin(GPIOB, GPIO_PIN_0, GPIO_PIN_SET);

  HAL_UARTEx_ReceiveToIdle_DMA(&huart2, (uint8_t*)rx_buffer, BUFFER_SIZE);
  strcpy(tx_buffer, "ATE0\r\n");

  dbuf_clear();

  HAL_TIM_IC_Start_IT(&htim3, TIM_CHANNEL_2);
  HAL_TIM_IC_Start_IT(&htim1, TIM_CHANNEL_1);

  /* USER CODE END 2 */

  /* Infinite loop */
  while (1)
  {
    MX_USB_HOST_Process();

    /* USER CODE BEGIN 3 */
    /*if(HAL_GPIO_ReadPin(GPIOB, GPIO_PIN_5)==1){ //GPIO_PinState HAL_GPIO_ReadPin(GPIO_TypeDef *GPIOx, uint16_t GPIO_Pin);
    	pulsos_hall = 1;
    }*/
    if(flag_message_copied == 1){
    	from_message_to_tasks(message_buffer);
    	flag_message_copied = 0;
    }
    if((client_connected == 0)&&(HAL_GetTick() - delay_connection > 200)){
    	flag_sample_sending = 0;
    	delay_connection = HAL_GetTick();
    	update_buffer(tx_buffer, BUFFER_SIZE, (*current_wifi_com_status).command);
    	send_tx();
    }
    if((flag_cipsend == 1)){
    	if (buffer_to_send != NULL)
    	{
    		HAL_UART_Transmit_DMA(&huart2,buffer_to_send,package_size);
    		free(buffer_to_send);
    	}
    	flag_cipsend = 0;
    }
    if((flag_read_bme280 == 1)){
    	if(BME280_Measure()){
    		flag_read_bme280 = 0;
    	}
    	//printf("Reading BME280\n");
    }
    if(flag_sample_sending){
    	if((HAL_GetTick() - delay_ds18b20 > 1000)){
    		if(DS18B20_state_handling(DS18B20_state_ptr)){
    			action(DS18B20_state);
    	    }
    	}

    	if((HAL_GetTick() - delay_bme280 > 1000)){
    		if(BME280_Measure()){
    			delay_bme280 = HAL_GetTick();
    		}
    	}

    	if(HAL_GetTick() - data_timeout > 50){
    		data_timeout = HAL_GetTick();

    		if(HAL_GetTick() - tiemout_motor_stopped > 200){
    			tiemout_motor_stopped = HAL_GetTick();
    			if(motor_stopped == 1){
    				rpm_motor = 0;
    			}
    		}
    		if(freno_stopped == 1){
    			rpm_freno_media = 0;
    		}
    		sample = dbuf_current_wr_slot();
    		if (sample)
    		{
    			rpm_freno_media = obtenerMedia();
    			reiniciarMedia();
    			sample->timeStamp = time_sample;
    			sample->samples[0] = Temperature_BME280;
    			sample->samples[1] = Pressure_BME280;
    			sample->samples[2] = Humidity_BME280;
    			sample->samples[3] = Temperature_DS18B20;
    			sample->samples[4] = rpm_freno_media;
    			sample->samples[5] = rpm_motor;
    			dbuf_push_record();
    		}
    		number_of_DataRecords = dbuf_record_count();
    		if (number_of_DataRecords >= 4) {
    			bundle = dbuf_current_rd_slot();
    		    if (bundle) {
    		        package_size = DataRecord_size * number_of_DataRecords;
    		        buffer_to_send = (uint8_t *)malloc(DataRecord_size * number_of_DataRecords * sizeof(uint8_t));
    		        memcpy(buffer_to_send,bundle,package_size);
    		        sprintf(tx_buffer, "AT+CIPSEND=0,%d\r\n", package_size);
    		        send_tx();
    		        dbuf_pop_record_bundle();
    		    }
    		}
    		motor_stopped = 1;
    		freno_stopped = 1;
    	}
    }
    else if(time_sample != 0){
    	time_sample = 0;
    }
  }
  /* USER CODE END 3 */
}

void SystemClock_Config(void)
{
  RCC_OscInitTypeDef RCC_OscInitStruct = {0};
  RCC_ClkInitTypeDef RCC_ClkInitStruct = {0};

  /** Configure the main internal regulator output voltage
  */
  __HAL_RCC_PWR_CLK_ENABLE();
  __HAL_PWR_VOLTAGESCALING_CONFIG(PWR_REGULATOR_VOLTAGE_SCALE1);

  /** Initializes the RCC Oscillators according to the specified parameters
  * in the RCC_OscInitTypeDef structure.
  */
  RCC_OscInitStruct.OscillatorType = RCC_OSCILLATORTYPE_HSE;
  RCC_OscInitStruct.HSEState = RCC_HSE_ON;
  RCC_OscInitStruct.PLL.PLLState = RCC_PLL_ON;
  RCC_OscInitStruct.PLL.PLLSource = RCC_PLLSOURCE_HSE;
  RCC_OscInitStruct.PLL.PLLM = 4;
  RCC_OscInitStruct.PLL.PLLN = 192;
  RCC_OscInitStruct.PLL.PLLP = RCC_PLLP_DIV4;
  RCC_OscInitStruct.PLL.PLLQ = 8;
  if (HAL_RCC_OscConfig(&RCC_OscInitStruct) != HAL_OK)
  {
    Error_Handler();
  }

  /** Initializes the CPU, AHB and APB buses clocks
  */
  RCC_ClkInitStruct.ClockType = RCC_CLOCKTYPE_HCLK|RCC_CLOCKTYPE_SYSCLK
                              |RCC_CLOCKTYPE_PCLK1|RCC_CLOCKTYPE_PCLK2;
  RCC_ClkInitStruct.SYSCLKSource = RCC_SYSCLKSOURCE_PLLCLK;
  RCC_ClkInitStruct.AHBCLKDivider = RCC_SYSCLK_DIV1;
  RCC_ClkInitStruct.APB1CLKDivider = RCC_HCLK_DIV4;
  RCC_ClkInitStruct.APB2CLKDivider = RCC_HCLK_DIV1;

  if (HAL_RCC_ClockConfig(&RCC_ClkInitStruct, FLASH_LATENCY_3) != HAL_OK)
  {
    Error_Handler();
  }
}

void PeriphCommonClock_Config(void)
{
  RCC_PeriphCLKInitTypeDef PeriphClkInitStruct = {0};

  /** Initializes the peripherals clock
  */
  PeriphClkInitStruct.PeriphClockSelection = RCC_PERIPHCLK_I2S;
  PeriphClkInitStruct.PLLI2S.PLLI2SN = 200;
  PeriphClkInitStruct.PLLI2S.PLLI2SM = 5;
  PeriphClkInitStruct.PLLI2S.PLLI2SR = 2;
  if (HAL_RCCEx_PeriphCLKConfig(&PeriphClkInitStruct) != HAL_OK)
  {
    Error_Handler();
  }
}

static void MX_I2C1_Init(void)
{

  hi2c1.Instance = I2C1;
  hi2c1.Init.ClockSpeed = 100000;
  hi2c1.Init.DutyCycle = I2C_DUTYCYCLE_2;
  hi2c1.Init.OwnAddress1 = 0;
  hi2c1.Init.AddressingMode = I2C_ADDRESSINGMODE_7BIT;
  hi2c1.Init.DualAddressMode = I2C_DUALADDRESS_DISABLE;
  hi2c1.Init.OwnAddress2 = 0;
  hi2c1.Init.GeneralCallMode = I2C_GENERALCALL_DISABLE;
  hi2c1.Init.NoStretchMode = I2C_NOSTRETCH_DISABLE;
  if (HAL_I2C_Init(&hi2c1) != HAL_OK)
  {
    Error_Handler();
  }

}

static void MX_I2S2_Init(void)
{

  hi2s2.Instance = SPI2;
  hi2s2.Init.Mode = I2S_MODE_MASTER_TX;
  hi2s2.Init.Standard = I2S_STANDARD_PHILIPS;
  hi2s2.Init.DataFormat = I2S_DATAFORMAT_16B;
  hi2s2.Init.MCLKOutput = I2S_MCLKOUTPUT_DISABLE;
  hi2s2.Init.AudioFreq = I2S_AUDIOFREQ_96K;
  hi2s2.Init.CPOL = I2S_CPOL_LOW;
  hi2s2.Init.ClockSource = I2S_CLOCK_PLL;
  hi2s2.Init.FullDuplexMode = I2S_FULLDUPLEXMODE_ENABLE;
  if (HAL_I2S_Init(&hi2s2) != HAL_OK)
  {
    Error_Handler();
  }

}

static void MX_I2S3_Init(void)
{

  hi2s3.Instance = SPI3;
  hi2s3.Init.Mode = I2S_MODE_MASTER_TX;
  hi2s3.Init.Standard = I2S_STANDARD_PHILIPS;
  hi2s3.Init.DataFormat = I2S_DATAFORMAT_16B;
  hi2s3.Init.MCLKOutput = I2S_MCLKOUTPUT_ENABLE;
  hi2s3.Init.AudioFreq = I2S_AUDIOFREQ_96K;
  hi2s3.Init.CPOL = I2S_CPOL_LOW;
  hi2s3.Init.ClockSource = I2S_CLOCK_PLL;
  hi2s3.Init.FullDuplexMode = I2S_FULLDUPLEXMODE_DISABLE;
  if (HAL_I2S_Init(&hi2s3) != HAL_OK)
  {
    Error_Handler();
  }

}

static void MX_SPI1_Init(void)
{

  /* SPI1 parameter configuration*/
  hspi1.Instance = SPI1;
  hspi1.Init.Mode = SPI_MODE_MASTER;
  hspi1.Init.Direction = SPI_DIRECTION_2LINES;
  hspi1.Init.DataSize = SPI_DATASIZE_8BIT;
  hspi1.Init.CLKPolarity = SPI_POLARITY_LOW;
  hspi1.Init.CLKPhase = SPI_PHASE_1EDGE;
  hspi1.Init.NSS = SPI_NSS_SOFT;
  hspi1.Init.BaudRatePrescaler = SPI_BAUDRATEPRESCALER_2;
  hspi1.Init.FirstBit = SPI_FIRSTBIT_MSB;
  hspi1.Init.TIMode = SPI_TIMODE_DISABLE;
  hspi1.Init.CRCCalculation = SPI_CRCCALCULATION_DISABLE;
  hspi1.Init.CRCPolynomial = 10;
  if (HAL_SPI_Init(&hspi1) != HAL_OK)
  {
    Error_Handler();
  }

}

static void MX_TIM1_Init(void)
{

  TIM_ClockConfigTypeDef sClockSourceConfig = {0};
  TIM_MasterConfigTypeDef sMasterConfig = {0};
  TIM_IC_InitTypeDef sConfigIC = {0};

  htim1.Instance = TIM1;
  htim1.Init.Prescaler = 96-1;
  htim1.Init.CounterMode = TIM_COUNTERMODE_UP;
  htim1.Init.Period = 65535;
  htim1.Init.ClockDivision = TIM_CLOCKDIVISION_DIV1;
  htim1.Init.RepetitionCounter = 0;
  htim1.Init.AutoReloadPreload = TIM_AUTORELOAD_PRELOAD_DISABLE;
  if (HAL_TIM_Base_Init(&htim1) != HAL_OK)
  {
    Error_Handler();
  }
  sClockSourceConfig.ClockSource = TIM_CLOCKSOURCE_INTERNAL;
  if (HAL_TIM_ConfigClockSource(&htim1, &sClockSourceConfig) != HAL_OK)
  {
    Error_Handler();
  }
  if (HAL_TIM_IC_Init(&htim1) != HAL_OK)
  {
    Error_Handler();
  }
  sMasterConfig.MasterOutputTrigger = TIM_TRGO_RESET;
  sMasterConfig.MasterSlaveMode = TIM_MASTERSLAVEMODE_DISABLE;
  if (HAL_TIMEx_MasterConfigSynchronization(&htim1, &sMasterConfig) != HAL_OK)
  {
    Error_Handler();
  }
  sConfigIC.ICPolarity = TIM_INPUTCHANNELPOLARITY_RISING;
  sConfigIC.ICSelection = TIM_ICSELECTION_DIRECTTI;
  sConfigIC.ICPrescaler = TIM_ICPSC_DIV1;
  sConfigIC.ICFilter = 4;
  if (HAL_TIM_IC_ConfigChannel(&htim1, &sConfigIC, TIM_CHANNEL_1) != HAL_OK)
  {
    Error_Handler();
  }

}

static void MX_TIM3_Init(void)
{

  TIM_ClockConfigTypeDef sClockSourceConfig = {0};
  TIM_MasterConfigTypeDef sMasterConfig = {0};
  TIM_IC_InitTypeDef sConfigIC = {0};

  htim3.Instance = TIM3;
  htim3.Init.Prescaler = 96-1;
  htim3.Init.CounterMode = TIM_COUNTERMODE_UP;
  htim3.Init.Period = 65535;
  htim3.Init.ClockDivision = TIM_CLOCKDIVISION_DIV1;
  htim3.Init.AutoReloadPreload = TIM_AUTORELOAD_PRELOAD_ENABLE;
  if (HAL_TIM_Base_Init(&htim3) != HAL_OK)
  {
    Error_Handler();
  }
  sClockSourceConfig.ClockSource = TIM_CLOCKSOURCE_INTERNAL;
  if (HAL_TIM_ConfigClockSource(&htim3, &sClockSourceConfig) != HAL_OK)
  {
    Error_Handler();
  }
  if (HAL_TIM_IC_Init(&htim3) != HAL_OK)
  {
    Error_Handler();
  }
  sMasterConfig.MasterOutputTrigger = TIM_TRGO_RESET;
  sMasterConfig.MasterSlaveMode = TIM_MASTERSLAVEMODE_DISABLE;
  if (HAL_TIMEx_MasterConfigSynchronization(&htim3, &sMasterConfig) != HAL_OK)
  {
    Error_Handler();
  }
  sConfigIC.ICPolarity = TIM_INPUTCHANNELPOLARITY_FALLING;
  sConfigIC.ICSelection = TIM_ICSELECTION_DIRECTTI;
  sConfigIC.ICPrescaler = TIM_ICPSC_DIV1;
  sConfigIC.ICFilter = 4;
  if (HAL_TIM_IC_ConfigChannel(&htim3, &sConfigIC, TIM_CHANNEL_2) != HAL_OK)
  {
    Error_Handler();
  }

}

static void MX_USART2_UART_Init(void)
{

  huart2.Instance = USART2;
  huart2.Init.BaudRate = 115200;
  huart2.Init.WordLength = UART_WORDLENGTH_8B;
  huart2.Init.StopBits = UART_STOPBITS_1;
  huart2.Init.Parity = UART_PARITY_NONE;
  huart2.Init.Mode = UART_MODE_TX_RX;
  huart2.Init.HwFlowCtl = UART_HWCONTROL_NONE;
  huart2.Init.OverSampling = UART_OVERSAMPLING_16;
  if (HAL_UART_Init(&huart2) != HAL_OK)
  {
    Error_Handler();
  }

}

static void MX_USART6_UART_Init(void)
{

  huart6.Instance = USART6;
  huart6.Init.BaudRate = 115200;
  huart6.Init.WordLength = UART_WORDLENGTH_8B;
  huart6.Init.StopBits = UART_STOPBITS_1;
  huart6.Init.Parity = UART_PARITY_NONE;
  huart6.Init.Mode = UART_MODE_TX_RX;
  huart6.Init.HwFlowCtl = UART_HWCONTROL_NONE;
  huart6.Init.OverSampling = UART_OVERSAMPLING_16;
  if (HAL_HalfDuplex_Init(&huart6) != HAL_OK)
  {
    Error_Handler();
  }

}

static void MX_DMA_Init(void)
{

  /* DMA controller clock enable */
  __HAL_RCC_DMA1_CLK_ENABLE();
  __HAL_RCC_DMA2_CLK_ENABLE();

  /* DMA interrupt init */
  /* DMA1_Stream0_IRQn interrupt configuration */
  HAL_NVIC_SetPriority(DMA1_Stream0_IRQn, 0, 0);
  HAL_NVIC_EnableIRQ(DMA1_Stream0_IRQn);
  /* DMA1_Stream1_IRQn interrupt configuration */
  HAL_NVIC_SetPriority(DMA1_Stream1_IRQn, 0, 0);
  HAL_NVIC_EnableIRQ(DMA1_Stream1_IRQn);
  /* DMA1_Stream5_IRQn interrupt configuration */
  HAL_NVIC_SetPriority(DMA1_Stream5_IRQn, 0, 0);
  HAL_NVIC_EnableIRQ(DMA1_Stream5_IRQn);
  /* DMA1_Stream6_IRQn interrupt configuration */
  HAL_NVIC_SetPriority(DMA1_Stream6_IRQn, 0, 0);
  HAL_NVIC_EnableIRQ(DMA1_Stream6_IRQn);
  /* DMA2_Stream1_IRQn interrupt configuration */
  HAL_NVIC_SetPriority(DMA2_Stream1_IRQn, 0, 0);
  HAL_NVIC_EnableIRQ(DMA2_Stream1_IRQn);
  /* DMA2_Stream6_IRQn interrupt configuration */
  HAL_NVIC_SetPriority(DMA2_Stream6_IRQn, 0, 0);
  HAL_NVIC_EnableIRQ(DMA2_Stream6_IRQn);

}

static void MX_GPIO_Init(void)
{
  GPIO_InitTypeDef GPIO_InitStruct = {0};

  /* GPIO Ports Clock Enable */
  __HAL_RCC_GPIOE_CLK_ENABLE();
  __HAL_RCC_GPIOC_CLK_ENABLE();
  __HAL_RCC_GPIOH_CLK_ENABLE();
  __HAL_RCC_GPIOA_CLK_ENABLE();
  __HAL_RCC_GPIOB_CLK_ENABLE();
  __HAL_RCC_GPIOD_CLK_ENABLE();

  /*Configure GPIO pin Output Level */
  HAL_GPIO_WritePin(CS_I2C_SPI_GPIO_Port, CS_I2C_SPI_Pin, GPIO_PIN_RESET);

  /*Configure GPIO pin Output Level */
  HAL_GPIO_WritePin(OTG_FS_PowerSwitchOn_GPIO_Port, OTG_FS_PowerSwitchOn_Pin, GPIO_PIN_SET);

  /*Configure GPIO pin Output Level */
  HAL_GPIO_WritePin(ESP01_IO0_GPIO_Port, ESP01_IO0_Pin, GPIO_PIN_RESET);

  /*Configure GPIO pin Output Level */
  HAL_GPIO_WritePin(GPIOB, ESP01_RST_Pin|ESP01_EN_Pin, GPIO_PIN_RESET);

  /*Configure GPIO pin Output Level */
  HAL_GPIO_WritePin(GPIOD, LD5_Pin|LD6_Pin|LD7_Pin|LD8_Pin
                          |LD4_Pin|LD3_Pin|LD5D14_Pin|LD6D15_Pin
                          |Audio_RST_Pin, GPIO_PIN_RESET);

  /*Configure GPIO pin : DATA_Ready_Pin */
  GPIO_InitStruct.Pin = DATA_Ready_Pin;
  GPIO_InitStruct.Mode = GPIO_MODE_INPUT;
  GPIO_InitStruct.Pull = GPIO_NOPULL;
  HAL_GPIO_Init(DATA_Ready_GPIO_Port, &GPIO_InitStruct);

  /*Configure GPIO pin : CS_I2C_SPI_Pin */
  GPIO_InitStruct.Pin = CS_I2C_SPI_Pin;
  GPIO_InitStruct.Mode = GPIO_MODE_OUTPUT_PP;
  GPIO_InitStruct.Pull = GPIO_NOPULL;
  GPIO_InitStruct.Speed = GPIO_SPEED_FREQ_LOW;
  HAL_GPIO_Init(CS_I2C_SPI_GPIO_Port, &GPIO_InitStruct);

  /*Configure GPIO pins : INT1_Pin INT2_Pin MEMS_INT2_Pin */
  GPIO_InitStruct.Pin = INT1_Pin|INT2_Pin|MEMS_INT2_Pin;
  GPIO_InitStruct.Mode = GPIO_MODE_EVT_RISING;
  GPIO_InitStruct.Pull = GPIO_NOPULL;
  HAL_GPIO_Init(GPIOE, &GPIO_InitStruct);

  /*Configure GPIO pins : OTG_FS_PowerSwitchOn_Pin ESP01_IO0_Pin */
  GPIO_InitStruct.Pin = OTG_FS_PowerSwitchOn_Pin|ESP01_IO0_Pin;
  GPIO_InitStruct.Mode = GPIO_MODE_OUTPUT_PP;
  GPIO_InitStruct.Pull = GPIO_NOPULL;
  GPIO_InitStruct.Speed = GPIO_SPEED_FREQ_LOW;
  HAL_GPIO_Init(GPIOC, &GPIO_InitStruct);

  /*Configure GPIO pin : PA0 */
  GPIO_InitStruct.Pin = GPIO_PIN_0;
  GPIO_InitStruct.Mode = GPIO_MODE_EVT_RISING;
  GPIO_InitStruct.Pull = GPIO_NOPULL;
  HAL_GPIO_Init(GPIOA, &GPIO_InitStruct);

  /*Configure GPIO pins : ESP01_RST_Pin ESP01_EN_Pin */
  GPIO_InitStruct.Pin = ESP01_RST_Pin|ESP01_EN_Pin;
  GPIO_InitStruct.Mode = GPIO_MODE_OUTPUT_PP;
  GPIO_InitStruct.Pull = GPIO_NOPULL;
  GPIO_InitStruct.Speed = GPIO_SPEED_FREQ_LOW;
  HAL_GPIO_Init(GPIOB, &GPIO_InitStruct);

  /*Configure GPIO pins : LD5_Pin LD6_Pin LD7_Pin LD8_Pin
                           LD4_Pin LD3_Pin LD5D14_Pin LD6D15_Pin
                           Audio_RST_Pin */
  GPIO_InitStruct.Pin = LD5_Pin|LD6_Pin|LD7_Pin|LD8_Pin
                          |LD4_Pin|LD3_Pin|LD5D14_Pin|LD6D15_Pin
                          |Audio_RST_Pin;
  GPIO_InitStruct.Mode = GPIO_MODE_OUTPUT_PP;
  GPIO_InitStruct.Pull = GPIO_NOPULL;
  GPIO_InitStruct.Speed = GPIO_SPEED_FREQ_LOW;
  HAL_GPIO_Init(GPIOD, &GPIO_InitStruct);

  /*Configure GPIO pin : OTG_FS_OverCurrent_Pin */
  GPIO_InitStruct.Pin = OTG_FS_OverCurrent_Pin;
  GPIO_InitStruct.Mode = GPIO_MODE_INPUT;
  GPIO_InitStruct.Pull = GPIO_NOPULL;
  HAL_GPIO_Init(OTG_FS_OverCurrent_GPIO_Port, &GPIO_InitStruct);

}

void Error_Handler(void)
{
  __disable_irq();
  while (1)
  {
  }
}
